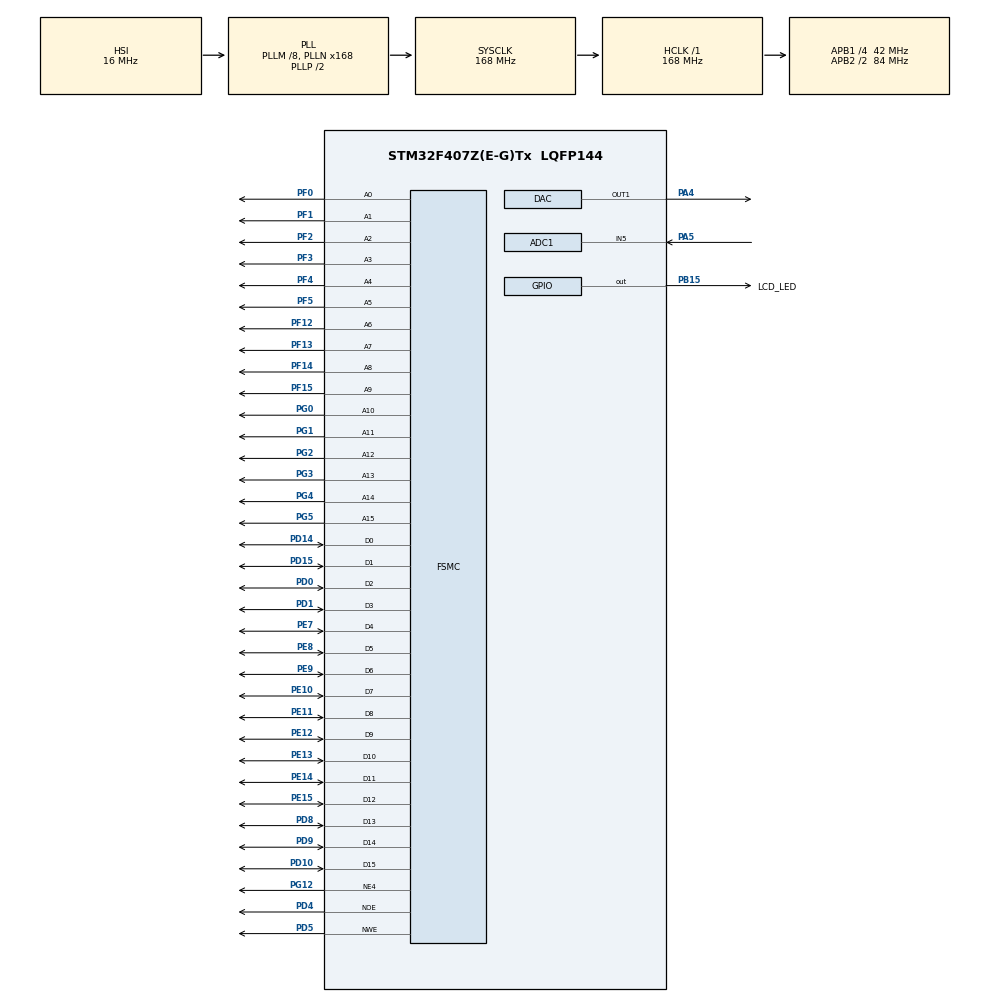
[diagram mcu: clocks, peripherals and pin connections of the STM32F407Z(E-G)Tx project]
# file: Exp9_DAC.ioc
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ADC1.Channel-0\#ChannelRegularConversion=ADC_CHANNEL_5
ADC1.NbrOfConversionFlag=1
ADC1.Rank-0\#ChannelRegularConversion=1
ADC1.SamplingTime-0\#ChannelRegularConversion=ADC_SAMPLETIME_3CYCLES
ADC1.master=1
DAC.DAC_Trigger=DAC_TRIGGER_T6_TRGO
Dma.DAC1.0.Direction=DMA_MEMORY_TO_PERIPH
Dma.DAC1.0.FIFOMode=DMA_FIFOMODE_DISABLE
Dma.DAC1.0.Instance=DMA1_Stream5
Dma.DAC1.0.MemDataAlignment=DMA_MDATAALIGN_HALFWORD
Dma.DAC1.0.MemInc=DMA_MINC_ENABLE
Dma.DAC1.0.Mode=DMA_CIRCULAR
Dma.DAC1.0.PeriphDataAlignment=DMA_PDATAALIGN_HALFWORD
Dma.DAC1.0.PeriphInc=DMA_PINC_DISABLE
Dma.DAC1.0.Priority=DMA_PRIORITY_LOW
Dma.Request0=DAC1
FSMC.BusTurnAroundDuration1=0
FSMC.DataSetupTime1=60
FSMC.ExtendedAddressSetupTime1=3
FSMC.ExtendedDataSetupTime1=3
FSMC.ExtendedMode1=FSMC_EXTENDED_MODE_ENABLE
FSMC.WriteOperation1=FSMC_WRITE_OPERATION_ENABLE
Mcu.Family=STM32F4
Mcu.Name=STM32F407Z(E-G)Tx
Mcu.Package=LQFP144
NVIC.DMA1_Stream5_IRQn=true\:0\:0\:false\:false\:true\:false\:true\:true
NVIC.PriorityGroup=NVIC_PRIORITYGROUP_4
PA13.Mode=Serial_Wire
PA13.Signal=SYS_JTMS-SWDIO
PA14.Mode=Serial_Wire
PA14.Signal=SYS_JTCK-SWCLK
PA4.Signal=COMP_DAC1_group
PA5.Signal=ADCx_IN5
PB15.GPIO_Label=LCD_LED
PB15.PinState=GPIO_PIN_SET
PB15.Signal=GPIO_Output
PD0.Signal=FSMC_D2_DA2
PD1.Signal=FSMC_D3_DA3
PD10.Signal=FSMC_D15_DA15
PD14.Signal=FSMC_D0_DA0
PD15.Signal=FSMC_D1_DA1
PD4.Signal=FSMC_NOE
PD5.Signal=FSMC_NWE
PD8.Signal=FSMC_D13_DA13
PD9.Signal=FSMC_D14_DA14
PE10.Signal=FSMC_D7_DA7
PE11.Signal=FSMC_D8_DA8
PE12.Signal=FSMC_D9_DA9
PE13.Signal=FSMC_D10_DA10
PE14.Signal=FSMC_D11_DA11
PE15.Signal=FSMC_D12_DA12
PE7.Signal=FSMC_D4_DA4
PE8.Signal=FSMC_D5_DA5
PE9.Signal=FSMC_D6_DA6
PF0.Signal=FSMC_A0
PF1.Signal=FSMC_A1
PF12.Signal=FSMC_A6
PF13.Signal=FSMC_A7
PF14.Signal=FSMC_A8
PF15.Signal=FSMC_A9
PF2.Signal=FSMC_A2
PF3.Signal=FSMC_A3
PF4.Signal=FSMC_A4
PF5.Signal=FSMC_A5
PG0.Signal=FSMC_A10
PG1.Signal=FSMC_A11
PG12.Mode=NorPsramChipSelect4_1
PG12.Signal=FSMC_NE4
PG2.Signal=FSMC_A12
PG3.Signal=FSMC_A13
PG4.Signal=FSMC_A14
PG5.Signal=FSMC_A15
PH0-OSC_IN.Mode=HSE-External-Oscillator
PH0-OSC_IN.Signal=RCC_OSC_IN
PH1-OSC_OUT.Mode=HSE-External-Oscillator
PH1-OSC_OUT.Signal=RCC_OSC_OUT
ProjectManager.HeapSize=0x200
ProjectManager.StackSize=0x400
ProjectManager.TargetToolchain=CMake
RCC.48MHZClocksFreq_Value=84000000
RCC.AHBFreq_Value=168000000
RCC.APB1CLKDivider=RCC_HCLK_DIV4
RCC.APB1Freq_Value=42000000
RCC.APB1TimFreq_Value=84000000
RCC.APB2CLKDivider=RCC_HCLK_DIV2
RCC.APB2Freq_Value=84000000
RCC.APB2TimFreq_Value=168000000
RCC.CortexFreq_Value=168000000
RCC.HCLKFreq_Value=168000000
RCC.HSE_VALUE=25000000
RCC.HSI_VALUE=16000000
RCC.LSE_VALUE=32768
RCC.PLLM=8
RCC.PLLN=168
RCC.SYSCLKFreq_VALUE=168000000
RCC.SYSCLKSource=RCC_SYSCLKSOURCE_PLLCLK
RCC.VCOOutputFreq_Value=336000000
SH.ADCx_IN5.0=ADC1_IN5,IN5
SH.COMP_DAC1_group.0=DAC_OUT1,DAC_OUT1
SH.FSMC_A0.0=FSMC_A0,16b-a1
SH.FSMC_A1.0=FSMC_A1,16b-a1
SH.FSMC_A10.0=FSMC_A10,16b-a1
SH.FSMC_A11.0=FSMC_A11,16b-a1
SH.FSMC_A12.0=FSMC_A12,16b-a1
SH.FSMC_A13.0=FSMC_A13,16b-a1
SH.FSMC_A14.0=FSMC_A14,16b-a1
SH.FSMC_A15.0=FSMC_A15,16b-a1
SH.FSMC_A2.0=FSMC_A2,16b-a1
SH.FSMC_A3.0=FSMC_A3,16b-a1
SH.FSMC_A4.0=FSMC_A4,16b-a1
SH.FSMC_A5.0=FSMC_A5,16b-a1
SH.FSMC_A6.0=FSMC_A6,16b-a1
SH.FSMC_A7.0=FSMC_A7,16b-a1
SH.FSMC_A8.0=FSMC_A8,16b-a1
SH.FSMC_A9.0=FSMC_A9,16b-a1
SH.FSMC_D0_DA0.0=FSMC_D0,16b-d1
SH.FSMC_D10_DA10.0=FSMC_D10,16b-d1
SH.FSMC_D11_DA11.0=FSMC_D11,16b-d1
SH.FSMC_D12_DA12.0=FSMC_D12,16b-d1
SH.FSMC_D13_DA13.0=FSMC_D13,16b-d1
SH.FSMC_D14_DA14.0=FSMC_D14,16b-d1
SH.FSMC_D15_DA15.0=FSMC_D15,16b-d1
SH.FSMC_D1_DA1.0=FSMC_D1,16b-d1
SH.FSMC_D2_DA2.0=FSMC_D2,16b-d1
SH.FSMC_D3_DA3.0=FSMC_D3,16b-d1
SH.FSMC_D4_DA4.0=FSMC_D4,16b-d1
SH.FSMC_D5_DA5.0=FSMC_D5,16b-d1
SH.FSMC_D6_DA6.0=FSMC_D6,16b-d1
SH.FSMC_D7_DA7.0=FSMC_D7,16b-d1
SH.FSMC_D8_DA8.0=FSMC_D8,16b-d1
SH.FSMC_D9_DA9.0=FSMC_D9,16b-d1
SH.FSMC_NOE.0=FSMC_NOE,Sram1
SH.FSMC_NWE.0=FSMC_NWE,Sram1
TIM6.Period=4999
TIM6.Prescaler=83
TIM6.TIM_MasterOutputTrigger=TIM_TRGO_UPDATE
VP_TIM6_VS_ClockSourceINT.Mode=Enable_Timer
board=custom

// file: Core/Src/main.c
/* USER CODE BEGIN Header */
/**
  ******************************************************************************
  * @file           : main.c
  * @brief          : Main program body
  ******************************************************************************
  * @attention
  *
  * Copyright (c) 2026 STMicroelectronics.
  * All rights reserved.
  *
  * This software is licensed under terms that can be found in the LICENSE file
  * in the root directory of this software component.
  * If no LICENSE file comes with this software, it is provided AS-IS.
  *
  ******************************************************************************
  */
/* USER CODE END Header */
#include "main.h"
#include "adc.h"
#include "dac.h"
#include "dma.h"
#include "tim.h"
#include "gpio.h"
#include "fsmc.h"

/* USER CODE BEGIN Includes */
#include "lcd.h"
#include "stdio.h"
#include "math.h"
/* USER CODE END Includes */

/* USER CODE BEGIN PV */
#define WAVE_WIDTH  46
#define WAVE_HEIGHT 220
#define WAVE_Y_TOP  40
#define WAVE_X_LEFT 10

#define ADC_MAX 4095
#define ADC_MIN 0

// Sine12bit is now computed at runtime using math.h

static uint16_t wave_buf[WAVE_WIDTH];
static uint16_t wave_pos = 0;
static uint8_t screen_full = 0;
static uint16_t Sine12bit[100];
/* USER CODE END PV */

void SystemClock_Config(void);

int main(void)
{

  /* MCU Configuration--------------------------------------------------------*/

  /* Reset of all peripherals, Initializes the Flash interface and the Systick. */
  HAL_Init();

  /* Configure the system clock */
  SystemClock_Config();

  /* Initialize all configured peripherals */
  MX_GPIO_Init();
  MX_DMA_Init();
  MX_DAC_Init();
  MX_ADC1_Init();
  MX_FSMC_Init();
  MX_TIM6_Init();
  /* USER CODE BEGIN 2 */
    LCD_Init();
    LCD_Clear(BLACK);
    POINT_COLOR = WHITE;
    BACK_COLOR = BLACK;
    LCD_ShowString(30, 10, 200, 16, 16, (uint8_t *) "ADC Sine Wave");

    for (uint16_t i = 0; i < WAVE_WIDTH; i++)
        wave_buf[i] = 0;

    for (uint16_t i = 0; i < 100; i++) {
        Sine12bit[i] = (uint16_t)((sin(2 * M_PI * i / 100) + 1.0) * 2047.5);
    }

    HAL_DAC_Start_DMA(&hdac, DAC_CHANNEL_1, (uint32_t *)Sine12bit, 100, DAC_ALIGN_12B_R);

    HAL_TIM_Base_Start(&htim6);

    // X axis (horizontal) - voltage axis
    LCD_DrawLine(WAVE_X_LEFT, WAVE_Y_TOP + WAVE_HEIGHT, WAVE_X_LEFT + WAVE_WIDTH * 10, WAVE_Y_TOP + WAVE_HEIGHT);
    LCD_DrawLine(WAVE_X_LEFT + WAVE_WIDTH * 10, WAVE_Y_TOP + WAVE_HEIGHT, WAVE_X_LEFT + WAVE_WIDTH * 10 - 8, WAVE_Y_TOP + WAVE_HEIGHT - 4);
    LCD_DrawLine(WAVE_X_LEFT + WAVE_WIDTH * 10, WAVE_Y_TOP + WAVE_HEIGHT, WAVE_X_LEFT + WAVE_WIDTH * 10 - 8, WAVE_Y_TOP + WAVE_HEIGHT + 4);

    // Y axis (vertical) - time axis
    LCD_DrawLine(WAVE_X_LEFT - 1, WAVE_Y_TOP, WAVE_X_LEFT - 1, WAVE_Y_TOP + WAVE_HEIGHT);
    LCD_DrawLine(WAVE_X_LEFT - 1, WAVE_Y_TOP - 5, WAVE_X_LEFT - 4, WAVE_Y_TOP + 3);
    LCD_DrawLine(WAVE_X_LEFT - 1, WAVE_Y_TOP - 5, WAVE_X_LEFT + 2, WAVE_Y_TOP + 3);

    // Axis labels: Y axis (V, voltage), X axis (t, time)
    LCD_ShowChar(WAVE_X_LEFT - 10, WAVE_Y_TOP + 4, 'V', 16, 0);
    LCD_ShowChar(WAVE_X_LEFT + WAVE_WIDTH * 10 - 10, WAVE_Y_TOP + WAVE_HEIGHT + 4, 't', 16, 0);
  /* USER CODE END 2 */

  /* Infinite loop */
    while (1) {

    /* USER CODE BEGIN 3 */
        HAL_ADC_Start(&hadc1);
        HAL_ADC_PollForConversion(&hadc1, HAL_MAX_DELAY);
        uint16_t adc_val = HAL_ADC_GetValue(&hadc1);
        HAL_ADC_Stop(&hadc1);

        // Display ADC value
        char buf[32];
        sprintf(buf, "ADC:%4d", adc_val);
        LCD_ShowString(10, 270, 200, 16, 16, (uint8_t *) buf);

        uint16_t wave_y;
        if (adc_val <= ADC_MIN) {
            wave_y = 0;
        } else if (adc_val >= ADC_MAX) {
            wave_y = WAVE_HEIGHT;
        } else {
            wave_y = (uint32_t) adc_val * WAVE_HEIGHT / ADC_MAX;
        }

        if (!screen_full) {
            if (wave_pos > 0) {
                uint16_t prev_y = wave_buf[wave_pos - 1];
                uint16_t prev_x = WAVE_X_LEFT + (wave_pos - 1) * 10;
                LCD_DrawLine(prev_x, WAVE_Y_TOP + (WAVE_HEIGHT - prev_y),
                             WAVE_X_LEFT + wave_pos * 10, WAVE_Y_TOP + (WAVE_HEIGHT - wave_y));
            }
            wave_buf[wave_pos] = wave_y;
            wave_pos++;
            if (wave_pos >= WAVE_WIDTH) screen_full = 1;
        } else {
            POINT_COLOR = BLACK;
            for (uint16_t i = 1; i < WAVE_WIDTH; i++) {
                LCD_DrawLine(WAVE_X_LEFT + (i - 1) * 10, WAVE_Y_TOP + (WAVE_HEIGHT - wave_buf[i - 1]),
                             WAVE_X_LEFT + i * 10, WAVE_Y_TOP + (WAVE_HEIGHT - wave_buf[i]));
            }

            for (uint16_t i = 0; i < WAVE_WIDTH - 1; i++) {
                wave_buf[i] = wave_buf[i + 1];
            }
            wave_buf[WAVE_WIDTH - 1] = wave_y;

            POINT_COLOR = WHITE;
            for (uint16_t i = 1; i < WAVE_WIDTH; i++) {
                LCD_DrawLine(WAVE_X_LEFT + (i - 1) * 10, WAVE_Y_TOP + (WAVE_HEIGHT - wave_buf[i - 1]),
                             WAVE_X_LEFT + i * 10, WAVE_Y_TOP + (WAVE_HEIGHT - wave_buf[i]));
            }
        }

        HAL_Delay(20);
    }
  /* USER CODE END 3 */
}

void SystemClock_Config(void)
{
  RCC_OscInitTypeDef RCC_OscInitStruct = {0};
  RCC_ClkInitTypeDef RCC_ClkInitStruct = {0};

  /** Configure the main internal regulator output voltage
  */
  __HAL_RCC_PWR_CLK_ENABLE();
  __HAL_PWR_VOLTAGESCALING_CONFIG(PWR_REGULATOR_VOLTAGE_SCALE1);

  /** Initializes the RCC Oscillators according to the specified parameters
  * in the RCC_OscInitTypeDef structure.
  */
  RCC_OscInitStruct.OscillatorType = RCC_OSCILLATORTYPE_HSI;
  RCC_OscInitStruct.HSIState = RCC_HSI_ON;
  RCC_OscInitStruct.HSICalibrationValue = RCC_HSICALIBRATION_DEFAULT;
  RCC_OscInitStruct.PLL.PLLState = RCC_PLL_ON;
  RCC_OscInitStruct.PLL.PLLSource = RCC_PLLSOURCE_HSI;
  RCC_OscInitStruct.PLL.PLLM = 8;
  RCC_OscInitStruct.PLL.PLLN = 168;
  RCC_OscInitStruct.PLL.PLLP = RCC_PLLP_DIV2;
  RCC_OscInitStruct.PLL.PLLQ = 4;
  if (HAL_RCC_OscConfig(&RCC_OscInitStruct) != HAL_OK)
  {
    Error_Handler();
  }

  /** Initializes the CPU, AHB and APB buses clocks
  */
  RCC_ClkInitStruct.ClockType = RCC_CLOCKTYPE_HCLK|RCC_CLOCKTYPE_SYSCLK
                              |RCC_CLOCKTYPE_PCLK1|RCC_CLOCKTYPE_PCLK2;
  RCC_ClkInitStruct.SYSCLKSource = RCC_SYSCLKSOURCE_PLLCLK;
  RCC_ClkInitStruct.AHBCLKDivider = RCC_SYSCLK_DIV1;
  RCC_ClkInitStruct.APB1CLKDivider = RCC_HCLK_DIV4;
  RCC_ClkInitStruct.APB2CLKDivider = RCC_HCLK_DIV2;

  if (HAL_RCC_ClockConfig(&RCC_ClkInitStruct, FLASH_LATENCY_5) != HAL_OK)
  {
    Error_Handler();
  }
}

void Error_Handler(void)
{
    __disable_irq();
    while (1) {
    }
}
